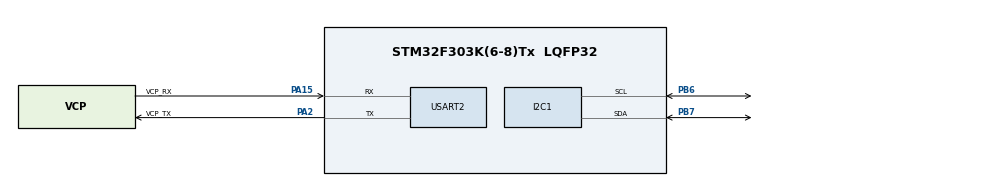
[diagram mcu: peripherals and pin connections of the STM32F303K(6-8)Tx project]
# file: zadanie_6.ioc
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I2C1.Timing=0x00201D2B
Mcu.Family=STM32F3
Mcu.Name=STM32F303K(6-8)Tx
Mcu.Package=LQFP32
NVIC.I2C1_EV_IRQn=true\:0\:0\:false\:false\:true\:true\:true\:true
NVIC.PriorityGroup=NVIC_PRIORITYGROUP_4
PA13.GPIO_Label=SWDIO
PA13.Mode=Serial_Wire
PA13.Signal=SYS_JTMS-SWDIO
PA14.GPIO_Label=SWCLK
PA14.Mode=Serial_Wire
PA14.Signal=SYS_JTCK-SWCLK
PA15.GPIO_Label=VCP_RX
PA15.Mode=Asynchronous
PA15.Signal=USART2_RX
PA2.GPIO_Label=VCP_TX
PA2.Mode=Asynchronous
PA2.Signal=USART2_TX
PB6.GPIO_Pu=GPIO_PULLUP
PB6.Mode=I2C
PB6.Signal=I2C1_SCL
PB7.GPIO_Pu=GPIO_PULLUP
PB7.Mode=I2C
PB7.Signal=I2C1_SDA
PF0\ /\ OSC_IN.GPIO_Label=MCO
PF0\ /\ OSC_IN.Signal=RCC_OSC_IN
ProjectManager.HeapSize=0x200
ProjectManager.StackSize=0x400
ProjectManager.TargetToolchain=STM32CubeIDE
RCC.AHBFreq_Value=8000000
RCC.APB1Freq_Value=8000000
RCC.APB2Freq_Value=8000000
RCC.CortexFreq_Value=8000000
RCC.HSE_VALUE=8000000
RCC.HSI_VALUE=8000000
RCC.SYSCLKFreq_VALUE=8000000
USART2.VirtualMode-Asynchronous=VM_ASYNC
board=NUCLEO-F303K8

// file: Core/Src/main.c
/* USER CODE BEGIN Header */
/**
  ******************************************************************************
  * @file           : main.c
  * @brief          : Main program body
  ******************************************************************************
  * @attention
  *
  * Copyright (c) 2026 STMicroelectronics.
  * All rights reserved.
  *
  * This software is licensed under terms that can be found in the LICENSE file
  * in the root directory of this software component.
  * If no LICENSE file comes with this software, it is provided AS-IS.
  *
  ******************************************************************************
  */
/* USER CODE END Header */
#include "main.h"
#include "i2c.h"
#include "usart.h"
#include "gpio.h"

/* USER CODE BEGIN Includes */
#include <stdio.h>
#include <stdlib.h>
#include "lps22hb.h"
#include "hts221.h"
/* USER CODE END Includes */

/* USER CODE BEGIN PD */
#define SAMPLE_PERIOD_MS  200
#define MESSAGE_SIZE      64
/* USER CODE END PD */

void SystemClock_Config(void);

/* USER CODE BEGIN 0 */
static int ScaleFloat(float value, int factor)
{
  return (int)((value * (float)factor) + ((value >= 0.0f) ? 0.5f : -0.5f));
}
/* USER CODE END 0 */

int main(void)
{

  /* MCU Configuration--------------------------------------------------------*/

  /* Reset of all peripherals, Initializes the Flash interface and the Systick. */
  LL_APB2_GRP1_EnableClock(LL_APB2_GRP1_PERIPH_SYSCFG);
  LL_APB1_GRP1_EnableClock(LL_APB1_GRP1_PERIPH_PWR);

  /* System interrupt init*/
  NVIC_SetPriorityGrouping(NVIC_PRIORITYGROUP_4);

  /* Configure the system clock */
  SystemClock_Config();

  /* Initialize all configured peripherals */
  MX_GPIO_Init();
  MX_I2C1_Init();
  MX_USART2_UART_Init();
  /* USER CODE BEGIN 2 */
  LPS22HB_RegisterBus(I2C1_ReadByte, I2C1_ReadBytes, I2C1_WriteByte, I2C1_WriteBytes);
  HTS221_RegisterBus(I2C1_ReadByte, I2C1_ReadBytes, I2C1_WriteByte, I2C1_WriteBytes);

  uint8_t pressureReady = LPS22HB_Init();
  uint8_t humidityReady = HTS221_Init();

  if(pressureReady)
  {
    LL_mDelay(50);
    LPS22HB_SetGroundReference();
  }
  /* USER CODE END 2 */

  /* Infinite loop */
  while (1)
  {

    /* USER CODE BEGIN 3 */
    if(!pressureReady)
    {
      pressureReady = LPS22HB_Init();

      if(pressureReady)
      {
        LPS22HB_SetGroundReference();
      }
    }

    if(!humidityReady)
    {
      humidityReady = HTS221_Init();
    }

    float temperature = 0.0f;
    float humidity = 0.0f;
    float pressure = 0.0f;
    float altitude = 0.0f;

    if(pressureReady)
    {
      pressureReady = LPS22HB_ReadPressure(&pressure);
      altitude = LPS22HB_CalculateAltitude(pressure);
    }

    if(humidityReady)
    {
      humidityReady = HTS221_ReadTemperature(&temperature);
      HTS221_ReadHumidity(&humidity);
    }

    int temperatureScaled = ScaleFloat(temperature, 10);
    int humidityScaled = ScaleFloat(humidity, 1);
    int pressureScaled = ScaleFloat(pressure, 100);
    int altitudeScaled = ScaleFloat(altitude, 100);

    char message[MESSAGE_SIZE];

    sprintf(message, "%s%d.%d,%d,%d.%02d,%s%d.%02d\r\n",
            (temperatureScaled < 0) ? "-" : "",
            abs(temperatureScaled) / 10, abs(temperatureScaled) % 10,
            humidityScaled,
            pressureScaled / 100, pressureScaled % 100,
            (altitudeScaled < 0) ? "-" : "",
            abs(altitudeScaled) / 100, abs(altitudeScaled) % 100);

    USART2_SendString(message);

    LL_mDelay(SAMPLE_PERIOD_MS);
  }
  /* USER CODE END 3 */
}

void SystemClock_Config(void)
{
  LL_FLASH_SetLatency(LL_FLASH_LATENCY_0);
  while(LL_FLASH_GetLatency()!= LL_FLASH_LATENCY_0)
  {
  }
  LL_RCC_HSI_Enable();

   /* Wait till HSI is ready */
  while(LL_RCC_HSI_IsReady() != 1)
  {

  }
  LL_RCC_HSI_SetCalibTrimming(16);
  LL_RCC_SetAHBPrescaler(LL_RCC_SYSCLK_DIV_1);
  LL_RCC_SetAPB1Prescaler(LL_RCC_APB1_DIV_1);
  LL_RCC_SetAPB2Prescaler(LL_RCC_APB2_DIV_1);
  LL_RCC_SetSysClkSource(LL_RCC_SYS_CLKSOURCE_HSI);

   /* Wait till System clock is ready */
  while(LL_RCC_GetSysClkSource() != LL_RCC_SYS_CLKSOURCE_STATUS_HSI)
  {

  }
  LL_Init1msTick(8000000);
  LL_SetSystemCoreClock(8000000);
  LL_RCC_SetI2CClockSource(LL_RCC_I2C1_CLKSOURCE_HSI);
}

void Error_Handler(void)
{
  __disable_irq();
  while (1)
  {
  }
}
